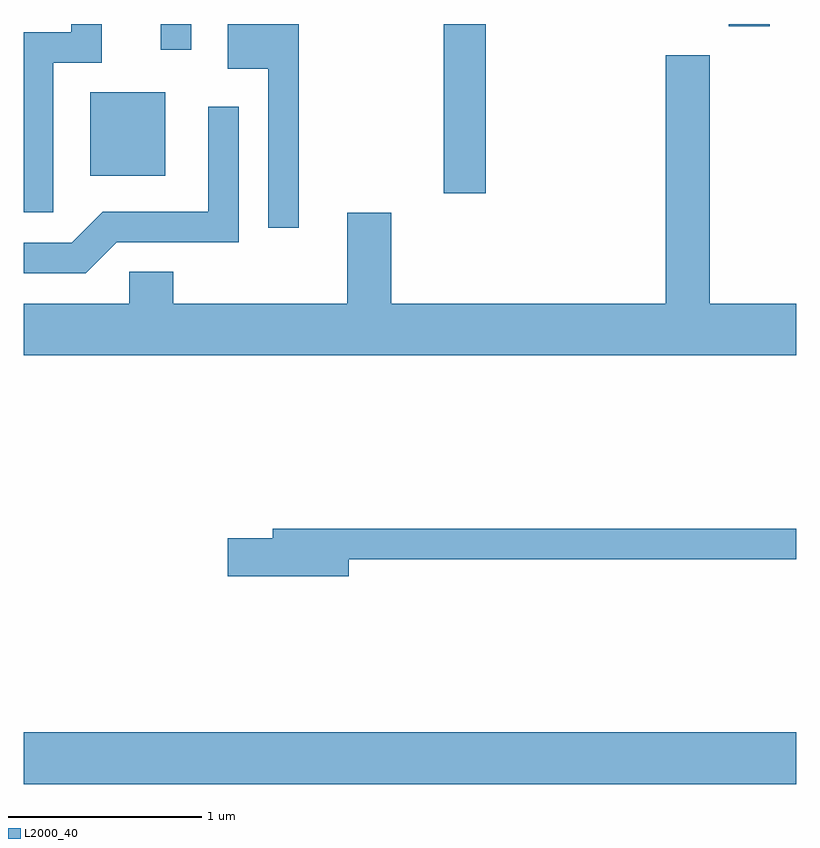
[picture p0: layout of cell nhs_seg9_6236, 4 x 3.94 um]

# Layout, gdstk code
import gdstk
lib = gdstk.Library(unit=1e-6, precision=1e-09)
def R(c, l, rs):  # rectangles x0, y0, x1, y1
    for r in rs: c.add(gdstk.rectangle(r[:2], r[2:], *l))
def P(c, l, *ps):  # polygons
    for p in ps: c.add(gdstk.Polygon(p, *l))
L2000_40 = (2000, 40)

nhs_seg9_6236 = lib.new_cell('nhs_seg9_6236')
R(nhs_seg9_6236, L2000_40, [(369.611,1978.496,373.611,1978.764), (371.786,1981.556,372.004,1982.432), (369.956,1981.646,370.344,1982.079), (370.321,1982.298,370.479,1982.432), (373.261,1982.421,373.474,1982.432)])
P(nhs_seg9_6236, L2000_40, [(369.764,1982.231),(370.014,1982.231),(370.014,1982.432),(369.856,1982.432),(369.856,1982.389),(369.611,1982.389),(369.611,1981.456),(369.764,1981.456)],
  [(371.034,1982.432),(370.666,1982.432),(370.666,1982.201),(370.876,1982.201),(370.876,1981.378),(371.034,1981.378)],
  [(373.611,1980.984),(373.164,1980.984),(373.164,1982.269),(372.936,1982.269),(372.936,1980.984),(371.514,1980.984),(371.514,1981.454),(371.286,1981.454),(371.286,1980.984),(370.384,1980.984),(370.384,1981.149),(370.156,1981.149),(370.156,1980.984),(369.611,1980.984),(369.611,1980.716),(373.611,1980.716)],
  [(370.092,1981.301),(370.724,1981.301),(370.724,1982.003),(370.566,1982.003),(370.566,1981.459),(370.019,1981.459),(369.859,1981.299),(369.611,1981.299),(369.611,1981.141),(369.932,1981.141)],
  [(371.294,1979.661),(373.611,1979.661),(373.611,1979.819),(370.901,1979.819),(370.901,1979.769),(370.666,1979.769),(370.666,1979.571),(371.294,1979.571)])

lib.write_gds('nhs_seg9_6236.gds')
